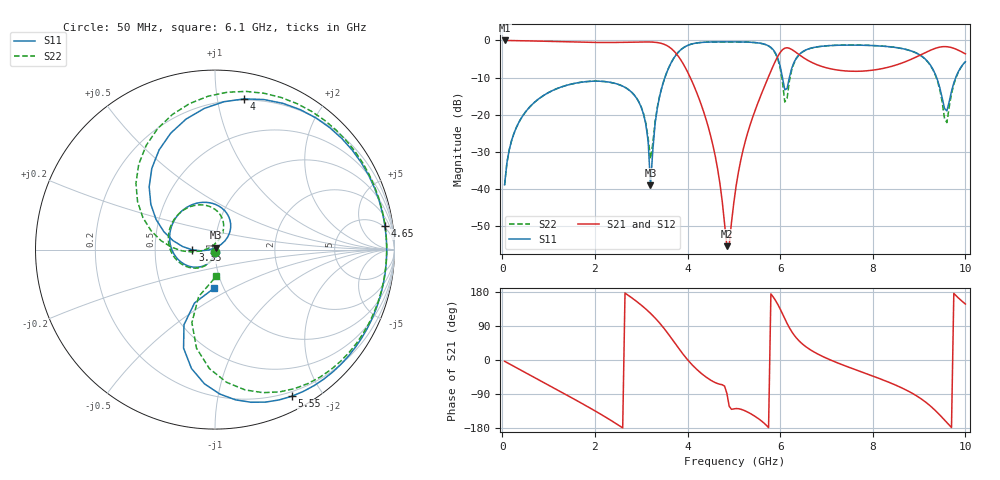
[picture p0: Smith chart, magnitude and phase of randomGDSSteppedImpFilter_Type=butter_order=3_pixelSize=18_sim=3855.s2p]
! freq	dB(S11)	phase(S11)	dB(S12)	phase(S12)
!  dB(S21)	phase(S21)	dB(S22)	phase(S22)
!S-par simulation data
#  GHz  S  DB  R 50
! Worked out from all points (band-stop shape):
!   200 points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, 50 MHz to 10 GHz, reference 50 ohm
!   highest |S21| = -0.01 dB at 50 MHz (marker M1); lowest = -55.3 dB at 4.85 GHz (marker M2)
!   |S21| within 3 dB of the highest: start of sweep to 3.717 GHz; 9.18 GHz to 9.909 GHz (729.3 MHz wide, 7.64 % of centre) (the widest 2 of 3)
!   lowest |S11| = -38.9 dB at 3.2 GHz (marker M3), VSWR 1.02, Z = 50.3 + j1.09 ohm
!   |S11| at or under -10 dB: start of sweep to 3.511 GHz; 6.051 GHz to 6.199 GHz (147.7 MHz wide, 2.41 % of centre); 9.378 GHz to 9.791 GHz (413 MHz wide, 4.31 % of centre)
!   |S22| runs from -38.8 to -0.4 dB; largest |S21 - S12| = 0
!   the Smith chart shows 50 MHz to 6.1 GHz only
!   S11 on the Smith chart (normalised r, x): 50 MHz: 1.00, -0.02; 3.35 GHz: 0.78, -0.00; 4 GHz: 0.19, +1.19; 4.65 GHz: 4, +13; 5.55 GHz: 0.15, -1.64; 6.1 GHz: 0.90, -0.41
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0.05  -38.81 -92.3  -0.01 -3.4  -0.01 -3.4  -38.82 -92.3
0.5  -19.25 -124.6  -0.10 -33.3  -0.10 -33.3  -19.25 -122.8
1.75  -11.16 148.9  -0.50 -116.7  -0.50 -116.7  -11.16 156.4
2.9  -15.53 58.5  -0.44 154.6  -0.44 154.6  -15.50 74.7
3.1  -22.56 41.3  -0.40 134.5  -0.40 134.5  -22.27 65.2
3.2  -38.93 73.8  -0.42 123.2  -0.42 123.2  -31.82 111.2
3.35  -18.01 -179.3  -0.58 104.2  -0.58 104.2  -17.80 -174.0
3.4  -14.90 174.7  -0.69 97.2  -0.69 97.2  -14.78 -177.6
3.7  -4.83 127.9  -2.77 49.1  -2.77 49.1  -4.81 140.1
4  -1.36 79.0  -8.45 0.8  -8.45 0.8  -1.35 92.5
4.65  -0.39 7.8  -34.59 -62.2  -34.59 -62.2  -0.39 21.7
4.85  -0.38 -8.4  -55.30 -88.2  -55.30 -88.2  -0.38 5.3
5.05  -0.39 -23.7  -39.02 -128.1  -39.02 -128.1  -0.39 -10.3
5.55  -0.70 -62.4  -15.82 -156.5  -15.82 -156.5  -0.72 -50.4
5.9  -3.41 -101.2  -5.48 157.1  -5.48 157.1  -3.56 -92.7
6.1  -13.28 -91.9  -2.08 109.1  -2.08 109.1  -16.56 -87.2
6.35  -4.72 -50.0  -3.29 58.3  -3.29 58.3  -4.88 -31.7
6.7  -1.97 -76.8  -6.02 23.4  -6.02 23.4  -1.98 -61.5
8.35  -1.69 -154.8  -7.15 -58.9  -7.15 -58.9  -1.67 -141.0
9.2  -5.89 153.7  -2.89 -116.8  -2.89 -116.8  -5.95 166.5
9.6  -18.93 -161.6  -1.69 -165.0  -1.69 -165.0  -22.09 -137.8
10  -5.71 -142.8  -3.61 147.7  -3.61 147.7  -5.76 -121.4
